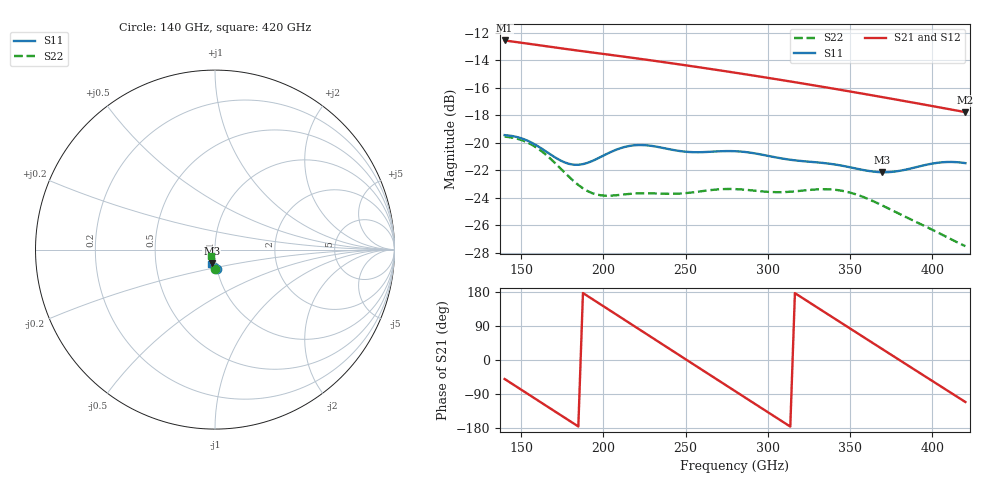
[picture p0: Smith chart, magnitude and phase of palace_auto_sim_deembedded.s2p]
! Created with skrf 1.11.0 (http://scikit-rf.org).
# GHz S DB R 50.0
!freq dBS11 angS11 dBS21 angS21 dBS12 angS12 dBS22 angS22
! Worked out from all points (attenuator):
!   101 points, 140 GHz to 420 GHz, reference 50 ohm
!   highest |S21| = -12.55 dB at 140 GHz (marker M1); lowest = -17.8 dB at 420 GHz (marker M2)
!   lowest |S11| = -22.1 dB at 369.6 GHz (marker M3), VSWR 1.17, Z = 47.6 - j7.28 ohm
!   |S11| at or under -10 dB: start of sweep to end of sweep
!   |S22| runs from -27.5 to -19.5 dB; largest |S21 - S12| = 3.6e-13
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140  -19.44 -84.3  -12.55 -50.1  -12.55 -50.1  -19.55 -89.3
151.2  -19.72 -87.2  -12.74 -81.4  -12.74 -81.4  -19.84 -93.7
162.4  -20.42 -89.6  -12.92 -112.8  -12.92 -112.8  -20.61 -99.0
176.4  -21.43 -87.5  -13.16 -152.0  -13.16 -152.0  -22.16 -102.1
187.6  -21.56 -82.7  -13.34 176.7  -13.34 176.7  -23.32 -99.6
198.8  -21.01 -80.4  -13.52 145.4  -13.52 145.4  -23.83 -94.8
212.8  -20.31 -83.2  -13.74 106.2  -13.74 106.2  -23.76 -91.6
224  -20.17 -87.4  -13.92 74.8  -13.92 74.8  -23.68 -91.5
235.2  -20.35 -90.9  -14.11 43.4  -14.11 43.4  -23.71 -91.9
254.8  -20.69 -93.2  -14.45 -11.5  -14.45 -11.5  -23.60 -92.3
268.8  -20.63 -94.8  -14.70 -50.6  -14.70 -50.6  -23.40 -94.3
280  -20.61 -97.2  -14.90 -82.0  -14.90 -82.0  -23.37 -96.8
291.2  -20.76 -99.8  -15.11 -113.2  -15.11 -113.2  -23.48 -99.1
305.2  -21.07 -101.9  -15.38 -152.3  -15.38 -152.3  -23.60 -100.9
316.4  -21.28 -102.7  -15.59 176.5  -15.59 176.5  -23.54 -102.4
327.6  -21.40 -103.4  -15.81 145.3  -15.81 145.3  -23.41 -105.1
347.2  -21.72 -105.1  -16.21 90.7  -16.21 90.7  -23.55 -112.4
369.6  -22.15 -103.7  -16.68 28.6  -16.68 28.6  -24.57 -119.6
375.2  -22.12 -102.8  -16.80 13.0  -16.80 13.0  -24.90 -120.6
386.4  -21.88 -101.8  -17.04 -18.0  -17.04 -18.0  -25.55 -121.7
400.4  -21.51 -103.0  -17.34 -56.7  -17.34 -56.7  -26.36 -121.7
420  -21.48 -107.1  -17.77 -110.8  -17.77 -110.8  -27.53 -118.3
